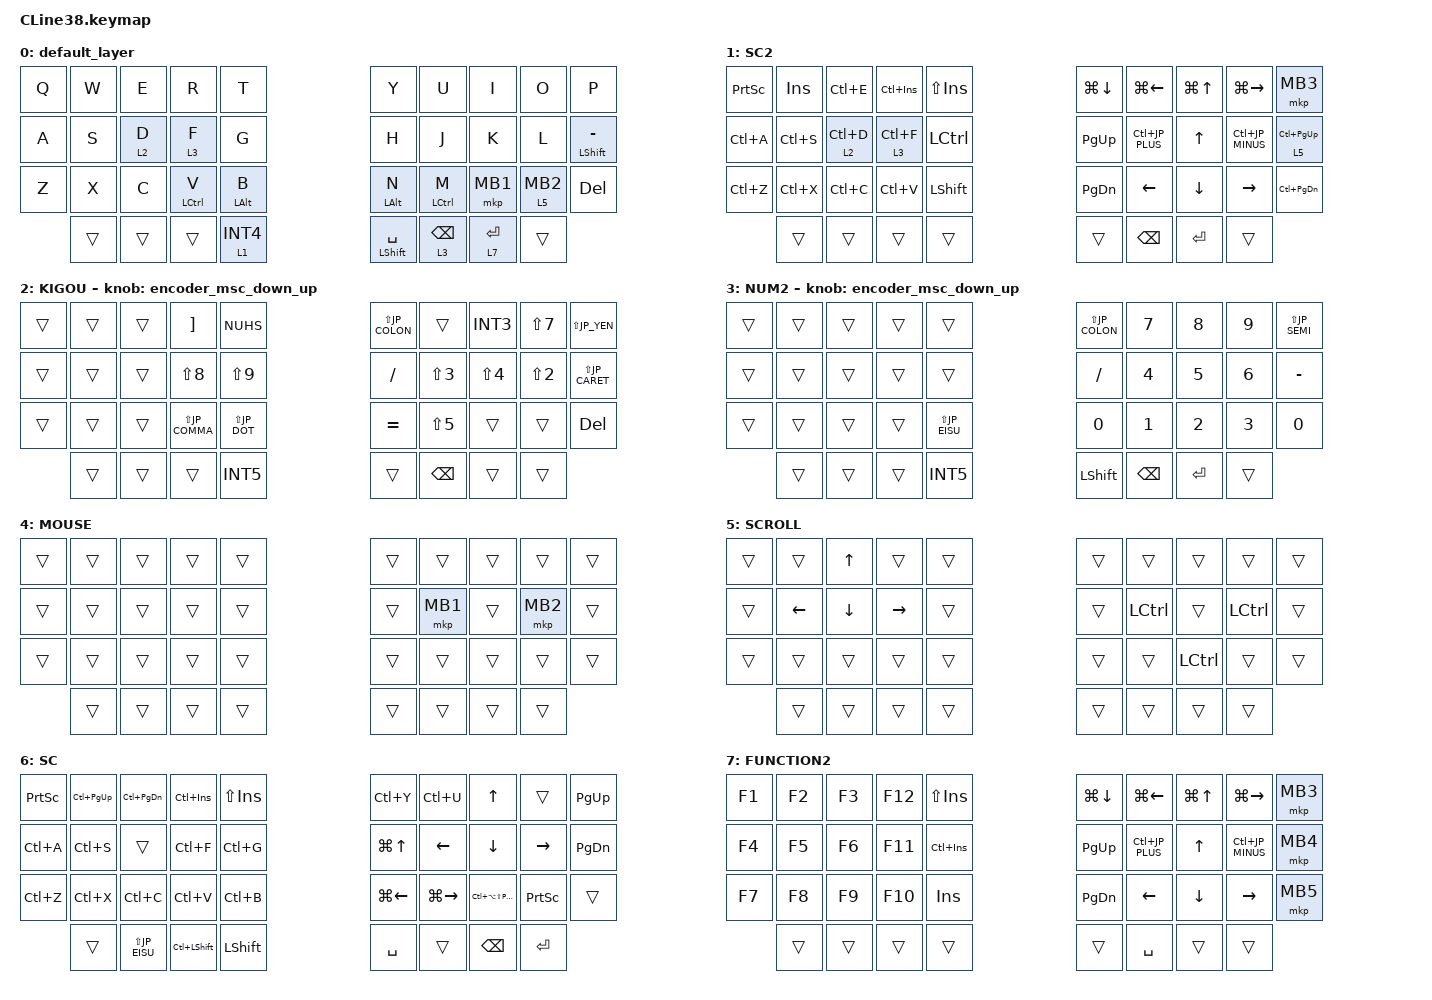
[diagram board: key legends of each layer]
#include <input/processors.dtsi>
#include <dt-bindings/zmk/input_transform.h>
#include <zephyr/dt-bindings/input/input-event-codes.h>
#include <behaviors/runtime_macro.dtsi>
#include <behaviors.dtsi>
#include <dt-bindings/zmk/keys.h>
#include <dt-bindings/zmk/pointing.h>

#define SCROLL 5
#define ZMK_POINTING_DEFAULT_SCRL_VAL 100

// OS設定を日本語キーボードのまま使用するための変換定義

#define JP_ZKHK  GRAVE        // Zenkaku ↔ Hankaku ↔ Kanji (半角 ↔ 全角 ↔ 漢字)
#define JP_MINUS MINUS        // -
#define JP_CARET EQUAL        // ^
#define JP_YEN   INT3         // ¥
#define JP_AT    LBKT         // @
#define JP_LBKT  RBKT         // [
#define JP_EISU  CAPS         // Eisū (英数)
#define JP_SEMI  SEMI         // ;
#define JP_COLON SQT          // :
#define JP_RBKT  NUHS         // ]
#define JP_COMMA COMMA        // ,
#define JP_DOT   DOT          // .
#define JP_SLASH SLASH        // /
#define JP_BSLH  INT1         // (backslash)
#define JP_MHEN  INT5         // Muhenkan (無変換)
#define JP_HENK  INT4         // Henkan (変換)
#define JP_KANA  INT2         // Katakana ↔ Hiragana ↔ Rōmaji (カタカナ ↔ ひらがな ↔ ローマ字)
#define JP_EXCL  LS(N1)       // !
#define JP_DQT   LS(N2)       // "
#define JP_HASH  LS(N3)       // #
#define JP_DLLR  LS(N4)       // $
#define JP_PRCNT LS(N5)       // %
#define JP_AMPS  LS(N6)       // &
#define JP_SQT   LS(N7)       // '
#define JP_LPAR  LS(N8)       // (
#define JP_RPAR  LS(N9)       // )
#define JP_EQUAL LS(JP_MINUS) // =
#define JP_TILDE LS(JP_CARET) // ~
#define JP_PIPE  LS(JP_YEN)   // |
#define JP_GRAVE LS(JP_AT)    // `
#define JP_LBRC  LS(JP_LBKT)  // {
#define JP_CAPS  LS(JP_EISU)  // Caps Lock
#define JP_PLUS  LS(JP_SEMI)  // +
#define JP_ASTRK LS(JP_COLON) // *
#define JP_RBRC  LS(JP_RBKT)  // }
#define JP_LT    LS(JP_COMMA) // <
#define JP_RT    LS(JP_DOT)   // >
#define JP_QMARK LS(JP_SLASH) // ?
#define JP_UNDER LS(JP_BSLH)  // _

&mt {
    flavor = "balanced";
    quick-tap-ms = <0>;
};

&lt { hold-while-undecided; };

/ {
    combos {
        compatible = "zmk,combos";

        tab {
            bindings = <&kp TAB>;
            key-positions = <36 26>;
            layers = <0>; // 指定レイヤーでのみ有効
        };

        F7_ {
            bindings = <&kp F7>;
            key-positions = <20 33>;
            timeout-ms = <30>;
            layers = <0>; // 指定レイヤーでのみ有効
        };

        F8_ {
            bindings = <&kp F8>;
            key-positions = <21 33>;
            timeout-ms = <30>;
            layers = <0>; // 指定レイヤーでのみ有効
        };

        F9_ {
            bindings = <&kp F9>;
            key-positions = <33 22>;
            timeout-ms = <30>;
            layers = <0>; // 指定レイヤーでのみ有効
        };

        F10_ {
            bindings = <&kp F10>;
            key-positions = <33 23>;
            timeout-ms = <30>;
            layers = <0>; // 指定レイヤーでのみ有効
        };

        F6_ {
            bindings = <&kp F6>;
            key-positions = <12 33>;
            layers = <0>; // 指定レイヤーでのみ有効
        };

        F5_ {
            bindings = <&kp F5>;
            key-positions = <11 33>;
            layers = <0>; // 指定レイヤーでのみ有効
        };

        F4_ {
            bindings = <&kp F4>;
            key-positions = <10 33>;
            layers = <0>; // 指定レイヤーでのみ有効
        };

        F3_ {
            bindings = <&kp F3>;
            key-positions = <2 33>;
            layers = <0>; // 指定レイヤーでのみ有効
        };

        F2_ {
            bindings = <&kp F2>;
            key-positions = <1 33>;
            layers = <0>; // 指定レイヤーでのみ有効
        };

        F1_ {
            bindings = <&kp F1>;
            key-positions = <0 33>;
            layers = <0>; // 指定レイヤーでのみ有効
        };

        F11_ {
            bindings = <&kp F11>;
            key-positions = <13 33>;
            layers = <0>; // 指定レイヤーでのみ有効
        };

        F12_ {
            bindings = <&kp F12>;
            key-positions = <3 33>;
            layers = <0>; // 指定レイヤーでのみ有効
        };

        EXCL_ {
            bindings = <&kp JP_EXCL>;
            key-positions = <3 2>;
            layers = <0>; // 指定レイヤーでのみ有効
        };

        QMARK_ {
            bindings = <&kp JP_QMARK>;
            key-positions = <7 6>;
            layers = <0>; // 指定レイヤーでのみ有効
        };

        AT_ {
            bindings = <&kp JP_AT>;
            key-positions = <27 16>;
            layers = <0>; // 指定レイヤーでのみ有効
        };

        COLON_ {
            bindings = <&kp JP_COLON>;
            key-positions = <23 24>;
        };

        SEMI_ {
            bindings = <&kp JP_SEMI>;
            key-positions = <26 25>;
        };

        ESC_ {
            bindings = <&kp ESCAPE>;
            key-positions = <0 1>;
            layers = <0>; // 指定レイヤーでのみ有効
        };

        UNDERBAR_ {
            bindings = <&kp JP_UNDER>;
            key-positions = <19 18>;
        };

        DEL_ {
            bindings = <&kp DELETE>;
            key-positions = <8 9>;
        };

        MB3_ {
            bindings = <&mkp MB3>;
            key-positions = <26 28>;
            layers = <0>; // 指定レイヤーでのみ有効
        };

        AND_ {
            bindings = <&kp JP_AMPS>;
            key-positions = <12 23>;
        };

        MUHENKAN {
            bindings = <&kp JP_MHEN>;
            key-positions = <13 12>;
        };

        COMMA_ {
            bindings = <&kp JP_COMMA>;
            key-positions = <22 23>;
        };

        DOT_ {
            bindings = <&kp JP_DOT>;
            key-positions = <27 26>;
            layers = <0 3>; // 指定レイヤーでのみ有効
        };

        EQ_ {
            bindings = <&kp JP_EQUAL>;
            key-positions = <17 26>;
            layers = <0 3>; // 指定レイヤーでのみ有効
        };

        WCLICK_ {
            bindings = <&WCLICK_>;
            key-positions = <27 28>;
            layers = <0>; // 指定レイヤーでのみ有効
        };

        win_2 {
            bindings = <&kp LEFT_GUI>;
            key-positions = <36 27>;
        };

        MB2_2 {
            bindings = <&mkp MB2>;
            key-positions = <28 29>;
        };

        INS_ {
            bindings = <&kp INSERT>;
            key-positions = <3 4>;
        };

        CAPSLOCK_ {
            bindings = <&kp LS(JP_EISU)>;
            key-positions = <13 22>;
        };
    };

    macros {
        to_layer_0: to_layer_0 {
            compatible = "zmk,behavior-macro-one-param";
            #binding-cells = <1>;
            bindings = <&to 0 &macro_param_1to1 &kp MACRO_PLACEHOLDER>;
            label = "TO_LAYER_0";
        };

        WCLICK_: WCLICK_ {
            compatible = "zmk,behavior-macro";
            #binding-cells = <0>;
            bindings = <&mkp MB1 &mkp MB1>;
            label = "WCLICK_";
        };
    };

    behaviors {
        lt_to_layer_0: lt_to_layer_0 {
            compatible = "zmk,behavior-hold-tap";
            label = "LAYER_TAP_TO_0";
            bindings = <&mo>, <&to_layer_0>;

            #binding-cells = <2>;
            tapping-term-ms = <200>;
        };

        encoder_msc_down_up: encoder_msc_down_up {
            compatible = "zmk,behavior-sensor-rotate";
            label = "ENCODER_MSC_DOWN_UP";
            #sensor-binding-cells = <0>;
            bindings = <&msc SCRL_DOWN>, <&msc SCRL_UP>;

            tap-ms = <20>;
        };

        mkpmo: mkpmo {
            compatible = "zmk,behavior-hold-tap";
            label = "MKPMO";
            bindings = <&mo>, <&mkp>;

            #binding-cells = <2>;
            tapping-term-ms = <200>;
            hold-while-undecided;
        };
    };

    keymap {
        compatible = "zmk,keymap";

        default_layer {
            bindings = <
&kp Q  &kp W   &kp E    &kp R        &kp T                                                    &kp Y           &kp U        &kp I     &kp O         &kp P
&kp A  &kp S   &lt 2 D  &lt 3 F      &kp G                                                    &kp H           &kp J        &kp K     &kp L         &mt LEFT_SHIFT JP_MINUS
&kp Z  &kp X   &kp C    &mt LCTRL V  &mt LEFT_ALT B                                           &mt LEFT_ALT N  &mt LCTRL M  &mkp MB1  &mkpmo 5 MB2  &kp DELETE
       &trans  &trans   &trans       &lt 1 JP_HENK   &mt LEFT_SHIFT SPACE    &lt 3 BACKSPACE  &lt 7 ENTER                            &trans
            >;
        };

        SC2 {
            bindings = <
&kp PRINTSCREEN  &kp INSERT  &kp LC(E)    &kp LC(INSERT)  &kp LS(INSERT)                           &kp LG(DOWN_ARROW)  &kp LG(LEFT_ARROW)  &kp LG(UP_ARROW)  &kp LG(RIGHT_ARROW)  &mkp MB3
&kp LC(A)        &kp LC(S)   &lt 2 LC(D)  &lt 3 LC(F)     &kp LCTRL                                &kp PAGE_UP         &kp LC(JP_PLUS)     &kp UP_ARROW      &kp LC(JP_MINUS)     &lt 5 LC(PAGE_UP)
&kp LC(Z)        &kp LC(X)   &kp LC(C)    &kp LC(V)       &kp LSHIFT                               &kp PAGE_DOWN       &kp LEFT_ARROW      &kp DOWN_ARROW    &kp RIGHT_ARROW      &kp LC(PAGE_DOWN)
                 &trans      &trans       &trans          &trans          &trans    &kp BACKSPACE  &kp ENTER                                                 &trans
            >;
        };

        KIGOU {
            bindings = <
&trans  &trans  &trans  &kp JP_LBKT  &kp JP_RBKT                           &kp JP_ASTRK  &trans        &kp JP_YEN   &kp JP_SQT  &kp JP_PIPE
&trans  &trans  &trans  &kp JP_LPAR  &kp JP_RPAR                           &kp JP_SLASH  &kp JP_HASH   &kp JP_DLLR  &kp JP_DQT  &kp JP_TILDE
&trans  &trans  &trans  &kp JP_LT    &kp JP_RT                             &kp JP_CARET  &kp JP_PRCNT  &trans       &trans      &kp DELETE
        &trans  &trans  &trans       &kp JP_MHEN  &trans    &kp BACKSPACE  &trans                                   &trans
            >;

            sensor-bindings = <&encoder_msc_down_up>;
        };

        NUM2 {
            bindings = <
&trans  &trans  &trans  &trans  &trans                                            &kp JP_ASTRK  &kp N7  &kp N8  &kp N9  &kp JP_PLUS
&trans  &trans  &trans  &trans  &trans                                            &kp JP_SLASH  &kp N4  &kp N5  &kp N6  &kp JP_MINUS
&trans  &trans  &trans  &trans  &kp LS(JP_EISU)                                   &kp N0        &kp N1  &kp N2  &kp N3  &kp N0
        &trans  &trans  &trans  &kp JP_MHEN      &kp LEFT_SHIFT    &kp BACKSPACE  &kp ENTER                     &trans
            >;

            sensor-bindings = <&encoder_msc_down_up>;
        };

        MOUSE {
            bindings = <
&trans  &trans  &trans  &trans  &trans                    &trans  &trans    &trans  &trans    &trans
&trans  &trans  &trans  &trans  &trans                    &trans  &mkp MB1  &trans  &mkp MB2  &trans
&trans  &trans  &trans  &trans  &trans                    &trans  &trans    &trans  &trans    &trans
        &trans  &trans  &trans  &trans  &trans    &trans  &trans                    &trans
            >;
        };

        SCROLL {
            bindings = <
&trans  &trans          &kp UP_ARROW    &trans           &trans                    &trans  &trans            &trans            &trans            &trans
&trans  &kp LEFT_ARROW  &kp DOWN_ARROW  &kp RIGHT_ARROW  &trans                    &trans  &kp LEFT_CONTROL  &trans            &kp LEFT_CONTROL  &trans
&trans  &trans          &trans          &trans           &trans                    &trans  &trans            &kp LEFT_CONTROL  &trans            &trans
        &trans          &trans          &trans           &trans  &trans    &trans  &trans                                      &trans
            >;
        };

        SC {
            bindings = <
&kp PRINTSCREEN  &kp LC(PAGE_UP)  &kp LC(PAGE_DOWN)  &kp LC(INSERT)  &kp LS(INSERT)                       &kp LC(Y)           &kp LC(U)            &kp UP_ARROW                 &trans           &kp PAGE_UP
&kp LC(A)        &kp LC(S)        &trans             &kp LC(F)       &kp LC(G)                            &kp LG(UP_ARROW)    &kp LEFT_ARROW       &kp DOWN_ARROW               &kp RIGHT_ARROW  &kp PAGE_DOWN
&kp LC(Z)        &kp LC(X)        &kp LC(C)          &kp LC(V)       &kp LC(B)                            &kp LG(LEFT_ARROW)  &kp LG(RIGHT_ARROW)  &kp LC(LA(LS(PRINTSCREEN)))  &kp PRINTSCREEN  &trans
                 &trans           &kp LS(JP_EISU)    &kp LC(LSHIFT)  &kp LSHIFT      &kp SPACE    &trans  &kp BACKSPACE                                                         &kp ENTER
            >;
        };

        FUNCTION2 {
            bindings = <
&kp F1  &kp F2  &kp F3  &kp F12  &kp LS(INSERT)                       &kp LG(DOWN_ARROW)  &kp LG(LEFT_ARROW)  &kp LG(UP_ARROW)  &kp LG(RIGHT_ARROW)  &mkp MB3
&kp F4  &kp F5  &kp F6  &kp F11  &kp LC(INSERT)                       &kp PAGE_UP         &kp LC(JP_PLUS)     &kp UP_ARROW      &kp LC(JP_MINUS)     &mkp MB4
&kp F7  &kp F8  &kp F9  &kp F10  &kp INSERT                           &kp PAGE_DOWN       &kp LEFT_ARROW      &kp DOWN_ARROW    &kp RIGHT_ARROW      &mkp MB5
        &trans  &trans  &trans   &trans          &trans    &kp SPACE  &trans                                                    &trans
            >;
        };
    };
};
